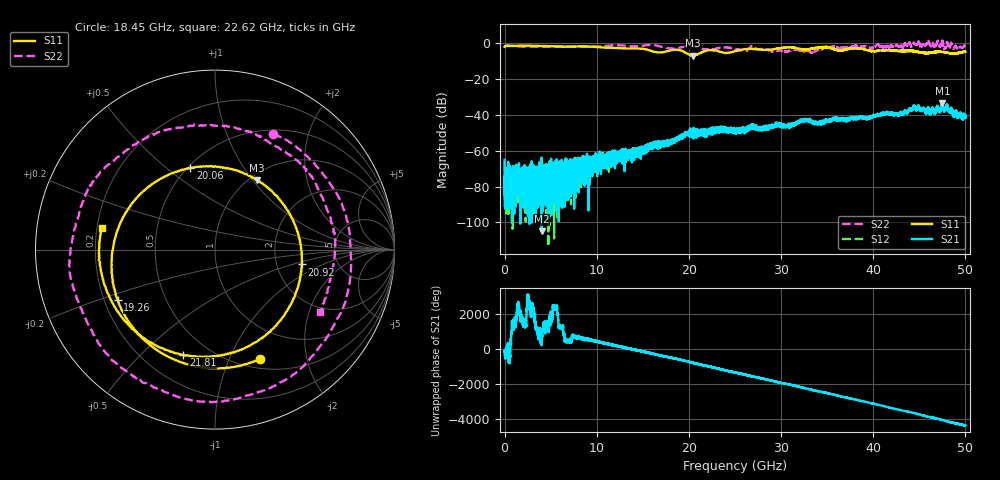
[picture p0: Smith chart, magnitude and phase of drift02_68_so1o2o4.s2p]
!Created with skrf (http://scikit-rf.org).
# Hz S RI R 50.0
!freq ReS11 ImS11 ReS21 ImS21 ReS12 ImS12 ReS22 ImS22
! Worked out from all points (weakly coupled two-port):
!   10001 points, 300 kHz to 50 GHz, reference 50 ohm
!   highest |S21| = -33.56 dB at 47.51 GHz (marker M1); lowest = -105.0 dB at 4.01 GHz (marker M2)
!   lowest |S11| = -6.9 dB at 20.4 GHz (marker M3), VSWR 2.64, Z = 53.8 + j52.3 ohm
!   |S11| at or under -10 dB: nowhere
!   |S22| runs from -5.4 to 1.6 dB; largest |S21 - S12| = 0.0032
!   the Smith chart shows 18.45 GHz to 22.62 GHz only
!   S11 on the Smith chart (normalised r, x): 18.45 GHz: 0.60, -1.30; 19.26 GHz: 0.26, -0.23; 20.06 GHz: 0.52, +0.61; 20.92 GHz: 2.77, -0.60; 21.81 GHz: 0.36, -0.68; 22.62 GHz: 0.22, +0.09
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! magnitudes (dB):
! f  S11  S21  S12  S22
! 300 kHz  -2.1  -65.1  -66.4  -1.3
! 255.3 MHz  -1.4  -84.6  -76.7  -1.4
! 770.3 MHz  -1.5  -75.6  -72.0  -1.5
! 4.01 GHz  -1.6  -105.0  -67.3  -1.9
! 8.335 GHz  -1.7  -70.1  -65.9  -1.9
! 16.67 GHz  -5.2  -55.4  -56.3  -1.5
! 18.45 GHz  -3.6  -54.4  -54.5  -2.8
! 19.26 GHz  -4.3  -51.5  -51.7  -2.1
! 20.06 GHz  -6.5  -50.5  -49.4  -1.5
! 20.4 GHz  -6.9  -50.6  -49.0  -1.8
! 20.92 GHz  -6.2  -49.5  -48.9  -2.2
! 21.81 GHz  -4.3  -49.7  -49.5  -3.5
! 22.62 GHz  -3.8  -48.9  -49.6  -3.3
! 25 GHz  -4.5  -48.9  -48.9  -3.2
! 26.12 GHz  -3.3  -48.8  -48.9  -4.3
! 26.91 GHz  -3.2  -45.9  -46.7  -1.7
! 33.34 GHz  -3.0  -43.8  -43.4  -5.1
! 34.89 GHz  -2.2  -43.2  -43.2  -2.3
! 41.67 GHz  -4.0  -39.5  -39.3  -2.0
! 44.43 GHz  -4.5  -34.9  -35.3  0.1
! 47.51 GHz  -4.8  -33.6  -33.6  1.3
! 50 GHz  -4.7  -41.5  -39.6  -1.5
